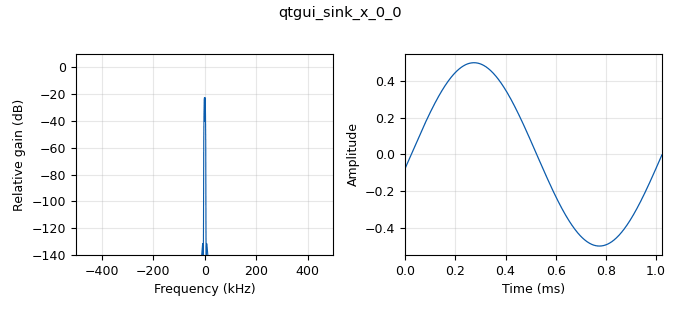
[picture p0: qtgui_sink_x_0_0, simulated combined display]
options:
  parameters:
    generate_options: qt_gui
    id: Communication_task1_modulation
    output_language: python
    title: Not titled yet
  states: {}

blocks:
- name: sample_rate
  id: variable
  parameters:
    value: '1000000'
  states: {}
- name: analog_sig_source_x_0
  id: analog_sig_source_x
  parameters:
    alias: Message
    amp: '0.5'
    comment: |-
      Message signal - Sin
      Frequency: 1KHz  ---  Amplitude: 0.5
    freq: 1e3
    offset: '0'
    phase: '0'
    samp_rate: sample_rate
    type: float
    waveform: analog.GR_SIN_WAVE
  states: {}
- name: analog_sig_source_x_1
  id: analog_sig_source_x
  parameters:
    alias: Carrier
    amp: '1'
    comment: |-
      Carrier signal - Sin
      Frequency: 10KHz  ---  Amplitude: 1
    freq: 1e4
    offset: '0'
    phase: '0'
    samp_rate: sample_rate
    type: float
    waveform: analog.GR_SIN_WAVE
  states: {}
- name: blocks_file_sink_0
  id: blocks_file_sink
  parameters:
    comment: saving the transmitted signal
    file: sin_wave.dat
    type: float
  states: {}
- name: blocks_float_to_complex_0
  id: blocks_float_to_complex
  parameters: {}
  states: {state: disabled}
- name: blocks_multiply_xx_0
  id: blocks_multiply_xx
  parameters:
    alias: mul
    comment: Carrier * Message
    type: float
  states: {}
- name: blocks_null_source_0
  id: blocks_null_source
  parameters:
    type: float
  states: {state: disabled}
- name: iio_pluto_sink_0
  id: iio_pluto_sink
  parameters:
    alias: pluto_task1_modulation
    attenuation1: '10.0'
    bandwidth: '20000000'
    buffer_size: '32768'
    comment: A pluto block  for reciving the signal
    cyclic: 'False'
    filter_source: '''Auto'''
    frequency: '2400000000'
    samplerate: sample_rate
    type: fc32
  states: {state: disabled}
- name: qtgui_sink_x_0_0
  id: qtgui_sink_x
  parameters:
    alias: origin_GUI_task1
    bw: sample_rate
    comment: |-
      for printing the signal after demodulation

      note: the freq. domain ideal wave is delta (S)
      but printing the signal using FFT
      will give a non-idea signal
    fc: '0'
    fftsize: '1024'
    type: float
  states: {}

connections:
- [analog_sig_source_x_0, '0', blocks_multiply_xx_0, '0']
- [analog_sig_source_x_0, '0', qtgui_sink_x_0_0, '0']
- [analog_sig_source_x_1, '0', blocks_multiply_xx_0, '1']
- [blocks_float_to_complex_0, '0', iio_pluto_sink_0, '0']
- [blocks_multiply_xx_0, '0', blocks_file_sink_0, '0']
- [blocks_multiply_xx_0, '0', blocks_float_to_complex_0, '0']
- [blocks_null_source_0, '0', blocks_float_to_complex_0, '1']

metadata:
  file_format: 1
  grc_version: 3.10.10.0
